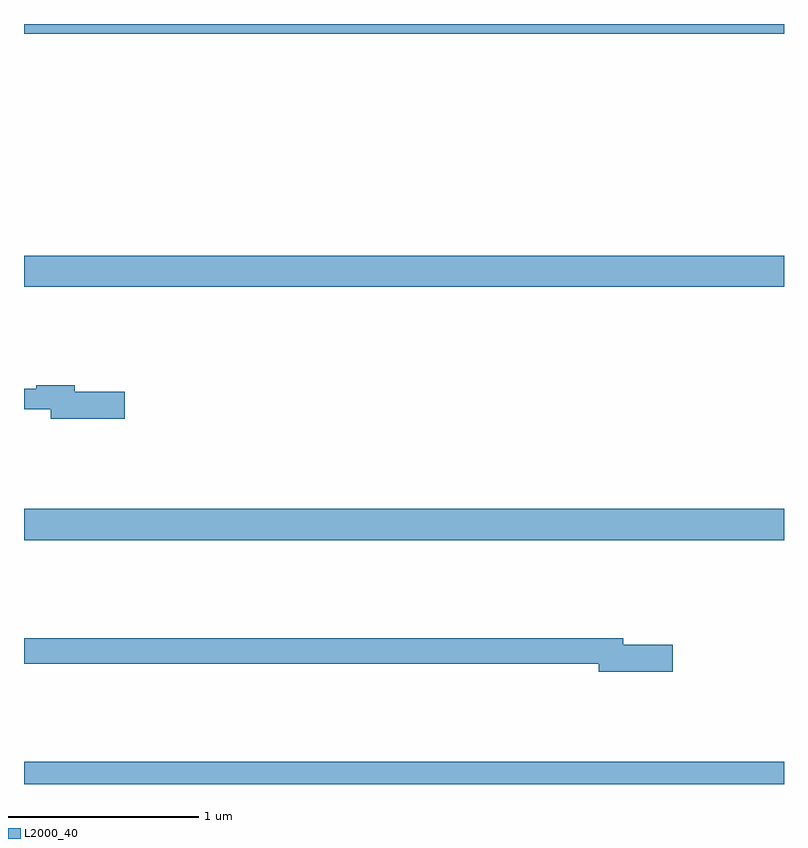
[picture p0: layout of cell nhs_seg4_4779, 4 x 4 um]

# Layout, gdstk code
import gdstk
lib = gdstk.Library(unit=1e-6, precision=1e-09)
def R(c, l, rs):  # rectangles x0, y0, x1, y1
    for r in rs: c.add(gdstk.rectangle(r[:2], r[2:], *l))
def P(c, l, *ps):  # polygons
    for p in ps: c.add(gdstk.Polygon(p, *l))
L2000_40 = (2000, 40)

nhs_seg4_4779 = lib.new_cell('nhs_seg4_4779')
R(nhs_seg4_4779, L2000_40, [(369,764.9,373,765.016), (369,766.184,373,766.348), (369,767.516,373,767.68), (369,768.848,373,768.9)])
P(nhs_seg4_4779, L2000_40, [(369.529,766.964),(369.268,766.964),(369.268,767),(369.064,767),(369.064,766.981),(369,766.981),(369,766.872),(369.14,766.872),(369.14,766.822),(369.529,766.822)],
  [(372.415,765.632),(372.154,765.632),(372.154,765.668),(369,765.668),(369,765.532),(372.026,765.532),(372.026,765.49),(372.415,765.49)])

lib.write_gds('nhs_seg4_4779.gds')
